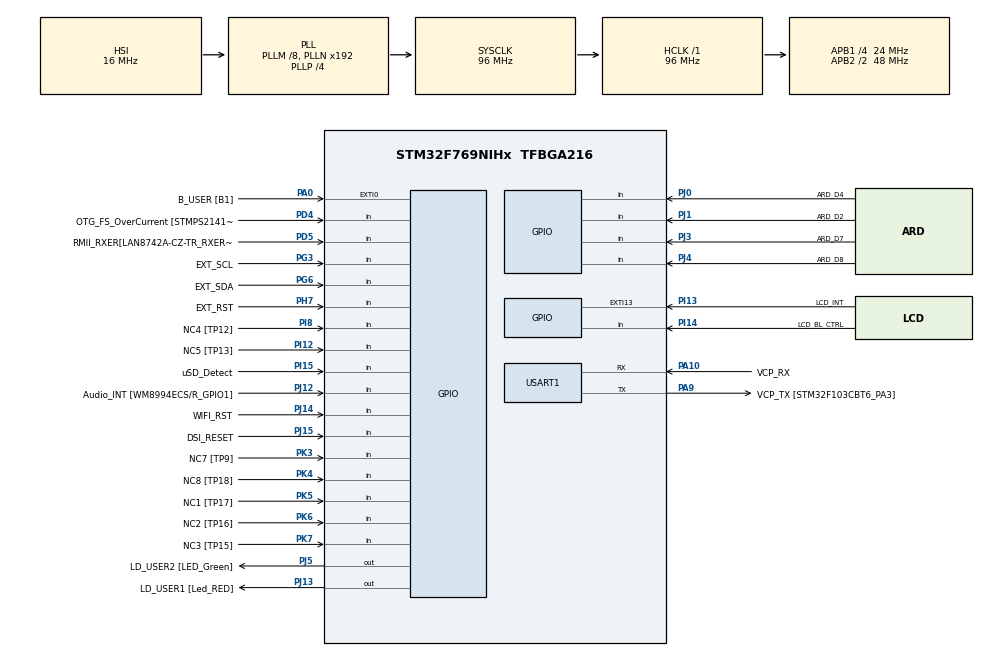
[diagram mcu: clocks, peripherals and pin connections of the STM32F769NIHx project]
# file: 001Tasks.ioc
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DSIHOST_CKN.GPIO_Label=DSI_CK_N
DSIHOST_CKN.Signal=DSIHOST_CKN
DSIHOST_CKP.GPIO_Label=DSI_CK_P
DSIHOST_CKP.Signal=DSIHOST_CKP
DSIHOST_D0N.GPIO_Label=DSI_D0_N
DSIHOST_D0N.Signal=DSIHOST_D0N
DSIHOST_D0P.GPIO_Label=DSI_D0_p
DSIHOST_D0P.Signal=DSIHOST_D0P
DSIHOST_D1N.GPIO_Label=DSI_D1_N
DSIHOST_D1N.Signal=DSIHOST_D1N
DSIHOST_D1P.GPIO_Label=DSI_D1_P
DSIHOST_D1P.Signal=DSIHOST_D1P
Mcu.Family=STM32F7
Mcu.Name=STM32F769NIHx
Mcu.Package=TFBGA216
NVIC.PriorityGroup=NVIC_PRIORITYGROUP_4
NVIC.TIM6_DAC_IRQn=true\:15\:0\:false\:false\:true\:false\:true\:true
NVIC.TimeBase=TIM6_DAC_IRQn
NVIC.TimeBaseIP=TIM6
PA0/WKUP.GPIO_Label=B_USER [B1]
PA0/WKUP.Signal=GPXTI0
PA1.GPIO_Label=RMII_REF_CLK [LAN8742A-CZ-TR_REFCLK0]
PA1.Signal=ETH_REF_CLK
PA10.GPIO_Label=VCP_RX 
PA10.Mode=Asynchronous
PA10.Signal=USART1_RX
PA11.GPIO_Label=SPI2_NSS
PA11.Signal=SPI2_NSS
PA12.GPIO_Label=ARD_D13/SCK
PA12.GPIO_Mode=GPIO_MODE_AF_PP
PA12.GPIO_PuPd=GPIO_NOPULL
PA12.GPIO_Speed=GPIO_SPEED_FREQ_LOW
PA12.Signal=SPI2_SCK
PA13.GPIO_Label=SWDIO
PA13.Signal=SYS_JTMS-SWDIO
PA14.GPIO_Label=SWCLK
PA14.Signal=SYS_JTCK-SWCLK
PA15.GPIO_Label=CEC
PA15.Signal=CEC
PA2.GPIO_Label=RMII_MDIO [LAN8742A-CZ-TR_MDIO]
PA2.Signal=ETH_MDIO
PA3.GPIO_Label=ULPI_D0 [USB3320C-EZK_D0]
PA3.Signal=USB_OTG_HS_ULPI_D0
PA4.GPIO_Label=ARD_A1
PA4.Signal=ADCx_IN4
PA5.GPIO_Label=ULPI_CLK [USB3320C-EZK_CLKOUT]
PA5.Signal=USB_OTG_HS_ULPI_CK
PA6.GPIO_Label=ARD_A0
PA6.Signal=ADCx_IN6
PA7.GPIO_Label=RMII_CRS_DV [LAN8742A-CZ-TR_CRS_DV]
PA7.Signal=ETH_CRS_DV
PA8.GPIO_Label=CEC_CLK [TP2]
PA8.Signal=RCC_MCO_1
PA9.GPIO_Label=VCP_TX [STM32F103CBT6_PA3]
PA9.GPIO_Mode=GPIO_MODE_AF_PP
PA9.GPIO_PuPd=GPIO_NOPULL
PA9.GPIO_Speed=GPIO_SPEED_FREQ_LOW
PA9.Mode=Asynchronous
PA9.Signal=USART1_TX
PB0.GPIO_Label=ULPI_D1 [USB3320C-EZK_D1]
PB0.Signal=USB_OTG_HS_ULPI_D1
PB1.GPIO_Label=ULPI_D2 [USB3320C-EZK_D2]
PB1.Signal=USB_OTG_HS_ULPI_D2
PB10.GPIO_Label=ULPI_D3 [USB3320C-EZK_D3]
PB10.Signal=USB_OTG_HS_ULPI_D3
PB11.GPIO_Label=ULPI_D4 [USB3320C-EZK_D4]
PB11.Signal=USB_OTG_HS_ULPI_D4
PB12.GPIO_Label=ULPI_D5 [USB3320C-EZK_D5]
PB12.Signal=USB_OTG_HS_ULPI_D5
PB13.GPIO_Label=ULPI_D6 [USB3320C-EZK_D6]
PB13.Signal=USB_OTG_HS_ULPI_D6
PB14.GPIO_Label=ARDUINO MISO/D12
PB14.GPIO_Mode=GPIO_MODE_AF_PP
PB14.GPIO_PuPd=GPIO_NOPULL
PB14.GPIO_Speed=GPIO_SPEED_FREQ_LOW
PB14.Signal=SPI2_MISO
PB15.GPIO_Label=ARDUINO MOSI/PWM/D11
PB15.GPIO_Mode=GPIO_MODE_AF_PP
PB15.GPIO_PuPd=GPIO_NOPULL
PB15.GPIO_Speed=GPIO_SPEED_FREQ_LOW
PB15.Signal=SPI2_MOSI
PB2.Signal=QUADSPI_CLK
PB3.GPIO_Label=uSD_D2
PB3.Signal=SDMMC2_D2
PB4.GPIO_Label=uSD_D3
PB4.Signal=SDMMC2_D3
PB5.GPIO_Label=ULPI_D7 [USB3320C-EZK_D7]
PB5.Signal=USB_OTG_HS_ULPI_D7
PB6.GPIO_Label=QSPI_NCS [N25Q128A13EF840E_S]
PB6.Signal=QUADSPI_BK1_NCS
PB7.GPIO_Label=AUDIO_SDA [WM8994ECS/R_SDA]
PB7.Signal=I2C4_SDA
PB8.GPIO_Label=ARDUINO SCL/D15
PB8.GPIO_Mode=GPIO_MODE_AF_OD
PB8.GPIO_PuPd=GPIO_NOPULL
PB8.GPIO_Speed=GPIO_SPEED_FREQ_LOW
PB8.Signal=I2C1_SCL
PB9.GPIO_Label=ARDUINO SDA/D14
PB9.GPIO_Mode=GPIO_MODE_AF_OD
PB9.GPIO_PuPd=GPIO_NOPULL
PB9.GPIO_Speed=GPIO_SPEED_FREQ_LOW
PB9.Signal=I2C1_SDA
PC0.GPIO_Label=ULPI_STP [USB3320C-EZK_STP]
PC0.Signal=USB_OTG_HS_ULPI_STP
PC1.GPIO_Label=RMII_MDC [LAN8742A-CZ-TR_MDC]
PC1.Signal=ETH_MDC
PC10.GPIO_Label=QSPI_D1 [MT25QL512ABB1EW9_DQ1]
PC10.Signal=QUADSPI_BK1_IO1
PC11.GPIO_Label=DFSDM_DATIN5 [TP100]
PC11.Signal=S_DATAIN5DFSDM1
PC12.GPIO_Label=WIFI_RX
PC12.Signal=UART5_TX
PC13.Signal=RTC_OUT
PC14/OSC32_IN.GPIO_Label=RCC_OSC32_IN
PC14/OSC32_IN.Signal=RCC_OSC32_IN
PC15/OSC32_OUT.GPIO_Label=RCC_OSC32_OUT
PC15/OSC32_OUT.Signal=RCC_OSC32_OUT
PC2.GPIO_Label=ARD_A2
PC2.Signal=ADCx_IN12
PC3.GPIO_Label=DFSDM_DATIN1 [TP101]
PC3.Signal=S_DATAIN1DFSDM1
PC4.GPIO_Label=RMII_RXD0 [LAN8742A-CZ-TR_RXD0]
PC4.Signal=ETH_RXD0
PC5.GPIO_Label=RMII_RXD1 [LAN8742A-CZ-TR_RXD1]
PC5.Signal=ETH_RXD1
PC6.GPIO_Label=ARDUINO TX/D1
PC6.Signal=USART6_TX
PC7.GPIO_Label=ARD_D0/RX
PC7.Signal=USART6_RX
PC8.GPIO_Label=ARD_D5/PWM
PC8.Signal=S_TIM3_CH3
PC9.GPIO_Label=QSPI_D0 [N25Q128A13EF840E_DQ0]
PC9.Signal=QUADSPI_BK1_IO0
PD0.GPIO_Label=FMC_D2 [MT48LC4M32B2B5-6A_DQ2]
PD0.Signal=FMC_D2_DA2
PD1.GPIO_Label=FMC_D3 [MT48LC4M32B2B5-6A_DQ3]
PD1.Signal=FMC_D3_DA3
PD10.GPIO_Label=FMC_D15 [MT48LC4M32B2B5-6A_DQ15]
PD10.Signal=FMC_D15_DA15
PD11.GPIO_Label=SPDIF_TX [TP20]
PD11.Signal=SAI2_SD_A
PD12.GPIO_Label=AUDIO_SCL [WM8994ECS/R_SCLK]
PD12.Signal=I2C4_SCL
PD13.GPIO_Label=QSPI_D3 [N25Q128A13EF840E_DQ3]
PD13.Signal=QUADSPI_BK1_IO3
PD14.GPIO_Label=FMC_D0 [MT48LC4M32B2B5-6A_DQ0]
PD14.Signal=FMC_D0_DA0
PD15.GPIO_Label=FMC_D1 [MT48LC4M32B2B5-6A_DQ1]
PD15.Signal=FMC_D1_DA1
PD2.GPIO_Label=WIFI_TX
PD2.Signal=UART5_RX
PD3.GPIO_Label=DFSDM_CKOUT [TP102]
PD3.Signal=S_CKOUTDFSDM1
PD4.GPIO_Label=OTG_FS_OverCurrent [STMPS2141STR_Fault]
PD4.Signal=GPIO_Input
PD5.GPIO_Label=RMII_RXER[LAN8742A-CZ-TR_RXERR]
PD5.Signal=GPIO_Input
PD6.GPIO_Label=uSD_CLK
PD6.Signal=SDMMC2_CK
PD7.GPIO_Label=uSD_CMD
PD7.Signal=SDMMC2_CMD
PD8.GPIO_Label=FMC_D13 [MT48LC4M32B2B5-6A_DQ13]
PD8.Signal=FMC_D13_DA13
PD9.GPIO_Label=FMC_D14 [MT48LC4M32B2B5-6A_DQ14]
PD9.Signal=FMC_D14_DA14
PE0.GPIO_Label=FMC_NBL0 [MT48LC4M32B2B5-6A_DQM0]
PE0.Signal=FMC_NBL0
PE1.GPIO_Label=FMC_NBL1 [MT48LC4M32B2B5-6A_DQM1]
PE1.Signal=FMC_NBL1
PE10.GPIO_Label=FMC_D7 [MT48LC4M32B2B5-6A_DQ7]
PE10.Signal=FMC_D7_DA7
PE11.GPIO_Label=FMC_D8 [MT48LC4M32B2B5-6A_DQ8]
PE11.Signal=FMC_D8_DA8
PE12.GPIO_Label=FMC_D9 [MT48LC4M32B2B5-6A_DQ9]
PE12.Signal=FMC_D9_DA9
PE13.GPIO_Label=FMC_D10 [MT48LC4M32B2B5-6A_DQ10]
PE13.Signal=FMC_D10_DA10
PE14.GPIO_Label=FMC_D11 [MT48LC4M32B2B5-6A_DQ11]
PE14.Signal=FMC_D11_DA11
PE15.GPIO_Label=FMC_D12 [MT48LC4M32B2B5-6A_DQ12]
PE15.Signal=FMC_D12_DA12
PE2.GPIO_Label=QSPI_D2 [N25Q128A13EF840E_DQ2]
PE2.Signal=QUADSPI_BK1_IO2
PE3.GPIO_Label=SAI1_SDB [WM8994ECS/R_ADCDAT1]
PE3.Signal=SAI1_SD_B
PE4.GPIO_Label=SAI1_FSA [WM8994ECS/R_LRCLK1]
PE4.Signal=SAI1_FS_A
PE5.GPIO_Label=SAI1_SCKA [WM8994ECS/R_BCLK1]
PE5.Signal=SAI1_SCK_A
PE6.GPIO_Label=SAI1_SDA [WM8994ECS/R_DACDAT1]
PE6.Signal=SAI1_SD_A
PE7.GPIO_Label=FMC_D4 [MT48LC4M32B2B5-6A_DQ4]
PE7.Signal=FMC_D4_DA4
PE8.GPIO_Label=FMC_D5 [MT48LC4M32B2B5-6A_DQ5]
PE8.Signal=FMC_D5_DA5
PE9.GPIO_Label=FMC_D6 [MT48LC4M32B2B5-6A_DQ6]
PE9.Signal=FMC_D6_DA6
PF0.GPIO_Label=FMC_A0 [MT48LC4M32B2B5-6A_A0]
PF0.Signal=FMC_A0
PF1.GPIO_Label=FMC_A1 [MT48LC4M32B2B5-6A_A1]
PF1.Signal=FMC_A1
PF10.GPIO_Label=ARDUINO A1
PF10.GPIO_Mode=GPIO_MODE_ANALOG
PF10.GPIO_PuPd=GPIO_NOPULL
PF10.Signal=ADC3_IN8
PF11.GPIO_Label=FMC_SDNRAS [MT48LC4M32B2B5-6A_RAS]
PF11.Signal=FMC_SDNRAS
PF12.GPIO_Label=FMC_A6 [MT48LC4M32B2B5-6A_A6]
PF12.Signal=FMC_A6
PF13.GPIO_Label=FMC_A7 [MT48LC4M32B2B5-6A_A7]
PF13.Signal=FMC_A7
PF14.GPIO_Label=FMC_A8 [MT48LC4M32B2B5-6A_A8]
PF14.Signal=FMC_A8
PF15.GPIO_Label=FMC_A9 [MT48LC4M32B2B5-6A_A9]
PF15.Signal=FMC_A9
PF2.GPIO_Label=FMC_A2 [MT48LC4M32B2B5-6A_A2]
PF2.Signal=FMC_A2
PF3.GPIO_Label=FMC_A3 [MT48LC4M32B2B5-6A_A3]
PF3.Signal=FMC_A3
PF4.GPIO_Label=FMC_A4 [MT48LC4M32B2B5-6A_A4]
PF4.Signal=FMC_A4
PF5.GPIO_Label=FMC_A5 [MT48LC4M32B2B5-6A_A5]
PF5.Signal=FMC_A5
PF6.GPIO_Label=ARD_D3/PWM
PF6.Signal=S_TIM10_CH1
PF7.GPIO_Label=ARD_D6/PWM
PF7.Signal=S_TIM11_CH1
PF8.GPIO_Label=ARDUINO A3
PF8.GPIO_Mode=GPIO_MODE_ANALOG
PF8.GPIO_PuPd=GPIO_NOPULL
PF8.Signal=ADC3_IN6
PF9.GPIO_Label=ARDUINO A2
PF9.GPIO_Mode=GPIO_MODE_ANALOG
PF9.GPIO_PuPd=GPIO_NOPULL
PF9.Signal=ADC3_IN7
PG0.GPIO_Label=FMC_A10 [MT48LC4M32B2B5-6A_A10]
PG0.Signal=FMC_A10
PG1.GPIO_Label=FMC_A11 [MT48LC4M32B2B5-6A_A11]
PG1.Signal=FMC_A11
PG10.GPIO_Label=uSD_D1
PG10.Signal=SDMMC2_D1
PG11.GPIO_Label=RMII_TX_EN [LAN8742A-CZ-TR_TXEN]
PG11.Signal=ETH_TX_EN
PG12.GPIO_Label=SPDIF_RX [74LVC1G04SE_4]
PG12.Signal=SPDIFRX_IN1
PG13.GPIO_Label=RMII_TXD0 [LAN8742A-CZ-TR_TXD0]
PG13.Signal=ETH_TXD0
PG14.GPIO_Label=RMII_TXD1 [LAN8742A-CZ-TR_TXD1]
PG14.Signal=ETH_TXD1
PG15.GPIO_Label=FMC_SDNCAS [MT48LC4M32B2B5-6A_CAS]
PG15.Signal=FMC_SDNCAS
PG2.GPIO_Label=FMC_A12
PG2.Signal=FMC_A12
PG3.GPIO_Label=EXT_SCL
PG3.Signal=GPIO_Input
PG4.GPIO_Label=FMC_BA0 [MT48LC4M32B2B5-6A_BA0]
PG4.Signal=FMC_A14_BA0
PG5.GPIO_Label=FMC_BA1 [MT48LC4M32B2B5-6A_BA1]
PG5.Signal=FMC_A15_BA1
PG6.GPIO_Label=EXT_SDA
PG6.Signal=GPIO_Input
PG7.GPIO_Label=SAI1_MCLKA [WM8994ECS/R_MCLK1]
PG7.Signal=SAI1_MCLK_A
PG8.GPIO_Label=FMC_SDCLK [MT48LC4M32B2B5-6A_CLK]
PG8.Signal=FMC_SDCLK
PG9.GPIO_Label=uSD_D0
PG9.Signal=SDMMC2_D0
PH0/OSC_IN.GPIO_Label=OSC_25M [NZ2520SB-25.00M_OUT]
PH0/OSC_IN.Signal=RCC_OSC_IN
PH1/OSC_OUT.Signal=RCC_OSC_OUT
PH10.GPIO_Label=FMC_D18 [MT48LC4M32B2B5-6A_DQ18]
PH10.Signal=FMC_D18
PH11.GPIO_Label=FMC_D19 [MT48LC4M32B2B5-6A_DQ19]
PH11.Signal=FMC_D19
PH12.GPIO_Label=D20
PH12.Signal=FMC_D20
PH13.GPIO_Label=D21
PH13.Signal=FMC_D21
PH14.GPIO_Label=D22
PH14.Signal=FMC_D22
PH15.GPIO_Label=D23
PH15.Signal=FMC_D23
PH2.GPIO_Label=FMC_SDCKE0 [MT48LC4M32B2B5-6A_CKE]
PH2.Signal=FMC_SDCKE0
PH3.GPIO_Label=FMC_SDNE0 [MT48LC4M32B2B5-6A_CS]
PH3.Signal=FMC_SDNE0
PH4.GPIO_Label=ULPI_NXT [USB3320C-EZK_NXT]
PH4.Signal=USB_OTG_HS_ULPI_NXT
PH5.GPIO_Label=FMC_SDNME [MT48LC4M32B2B5-6A_WE]
PH5.Signal=FMC_SDNWE
PH6.GPIO_Label=ARDUINO PWM/D6
PH6.Signal=S_TIM12_CH1
PH7.GPIO_Label=EXT_RST
PH7.Signal=GPIO_Input
PH8.GPIO_Label=FMC_D16 [MT48LC4M32B2B5-6A_DQ16]
PH8.Signal=FMC_D16
PH9.GPIO_Label=FMC_D\!7 [MT48LC4M32B2B5-6A_DQ17]
PH9.Signal=FMC_D17
PI0.GPIO_Label=D24
PI0.Signal=FMC_D24
PI1.GPIO_Label=D25
PI1.Signal=FMC_D25
PI10.GPIO_Label=D31
PI10.Signal=FMC_D31
PI11.GPIO_Label=ULPI_DIR [USB3320C-EZK_DIR]
PI11.Signal=USB_OTG_HS_ULPI_DIR
PI12.GPIO_Label=NC5 [TP13]
PI12.Signal=GPIO_Input
PI13.GPIO_Label=LCD_INT
PI13.GPIO_ModeDefaultEXTI=GPIO_MODE_EVT_RISING
PI13.Signal=GPXTI13
PI14.GPIO_Label=LCD_BL_CTRL
PI14.Signal=GPIO_Input
PI15.GPIO_Label=uSD_Detect
PI15.Signal=GPIO_Input
PI2.GPIO_Label=D26
PI2.Signal=FMC_D26
PI3.GPIO_Label=D27
PI3.Signal=FMC_D27
PI4.GPIO_Label=FMC_NBL2 [MT48LC4M32B2B5-6A_DQM2]
PI4.Signal=FMC_NBL2
PI5.GPIO_Label=FMC_NBL3 [MT48LC4M32B2B5-6A_DQM3]
PI5.Signal=FMC_NBL3
PI6.GPIO_Label=D28
PI6.Signal=FMC_D28
PI7.GPIO_Label=D29
PI7.Signal=FMC_D29
PI8.GPIO_Label=NC4 [TP12]
PI8.Signal=GPIO_Input
PI9.GPIO_Label=D30
PI9.Signal=FMC_D30
PJ0.GPIO_Label=ARD_D4
PJ0.Signal=GPIO_Input
PJ1.GPIO_Label=ARD_D2
PJ1.Signal=GPIO_Input
PJ12.GPIO_Label=Audio_INT [WM8994ECS/R_GPIO1]
PJ12.Signal=GPIO_Input
PJ13.GPIO_Label=LD_USER1 [Led_RED]
PJ13.Signal=GPIO_Output
PJ14.GPIO_Label=WIFI_RST
PJ14.Signal=GPIO_Input
PJ15.GPIO_Label=DSI_RESET
PJ15.Signal=GPIO_Input
PJ2.GPIO_Label=DSIHOST_TE
PJ2.Signal=DSIHOST_TE
PJ3.GPIO_Label=ARD_D7
PJ3.Signal=GPIO_Input
PJ4.GPIO_Label=ARD_D8
PJ4.Signal=GPIO_Input
PJ5.GPIO_Label=LD_USER2 [LED_Green]
PJ5.Signal=GPIO_Output
PK3.GPIO_Label=NC7 [TP9]
PK3.Signal=GPIO_Input
PK4.GPIO_Label=NC8 [TP18]
PK4.Signal=GPIO_Input
PK5.GPIO_Label=NC1 [TP17]
PK5.Signal=GPIO_Input
PK6.GPIO_Label=NC2 [TP16]
PK6.Signal=GPIO_Input
PK7.GPIO_Label=NC3 [TP15]
PK7.Signal=GPIO_Input
ProjectManager.HeapSize=0x200
ProjectManager.StackSize=0x400
ProjectManager.TargetToolchain=STM32CubeIDE
RCC.AHBFreq_Value=96000000
RCC.APB1CLKDivider=RCC_HCLK_DIV4
RCC.APB1Freq_Value=24000000
RCC.APB1TimFreq_Value=48000000
RCC.APB2CLKDivider=RCC_HCLK_DIV2
RCC.APB2Freq_Value=48000000
RCC.APB2TimFreq_Value=96000000
RCC.CortexFreq_Value=96000000
RCC.HCLKFreq_Value=96000000
RCC.HSE_VALUE=25000000
RCC.HSI_VALUE=16000000
RCC.LSE_VALUE=32768
RCC.PLLM=8
RCC.PLLP=RCC_PLLP_DIV4
RCC.PLLQ=4
RCC.PLLSAIQ=3
RCC.SYSCLKFreq_VALUE=96000000
RCC.SYSCLKSource=RCC_SYSCLKSOURCE_PLLCLK
RCC.USBFreq_Value=96000000
RCC.VCOOutputFreq_Value=384000000
SH.ADCx_IN12.0=ADC1_IN12
SH.ADCx_IN4.0=ADC1_IN4
SH.ADCx_IN6.0=ADC1_IN6
SH.FMC_A0.0=FMC_A0
SH.FMC_A1.0=FMC_A1
SH.FMC_A10.0=FMC_A10
SH.FMC_A11.0=FMC_A11
SH.FMC_A12.0=FMC_A12
SH.FMC_A14_BA0.0=FMC_BA0
SH.FMC_A15_BA1.0=FMC_BA1
SH.FMC_A2.0=FMC_A2
SH.FMC_A3.0=FMC_A3
SH.FMC_A4.0=FMC_A4
SH.FMC_A5.0=FMC_A5
SH.FMC_A6.0=FMC_A6
SH.FMC_A7.0=FMC_A7
SH.FMC_A8.0=FMC_A8
SH.FMC_A9.0=FMC_A9
SH.FMC_D0_DA0.0=FMC_D0
SH.FMC_D10_DA10.0=FMC_D10
SH.FMC_D11_DA11.0=FMC_D11
SH.FMC_D12_DA12.0=FMC_D12
SH.FMC_D13_DA13.0=FMC_D13
SH.FMC_D14_DA14.0=FMC_D14
SH.FMC_D15_DA15.0=FMC_D15
SH.FMC_D16.0=FMC_D16
SH.FMC_D17.0=FMC_D17
SH.FMC_D18.0=FMC_D18
SH.FMC_D19.0=FMC_D19
SH.FMC_D1_DA1.0=FMC_D1
SH.FMC_D20.0=FMC_D20
SH.FMC_D21.0=FMC_D21
SH.FMC_D22.0=FMC_D22
SH.FMC_D23.0=FMC_D23
SH.FMC_D24.0=FMC_D24
SH.FMC_D25.0=FMC_D25
SH.FMC_D26.0=FMC_D26
SH.FMC_D27.0=FMC_D27
SH.FMC_D28.0=FMC_D28
SH.FMC_D29.0=FMC_D29
SH.FMC_D2_DA2.0=FMC_D2
SH.FMC_D30.0=FMC_D30
SH.FMC_D31.0=FMC_D31
SH.FMC_D3_DA3.0=FMC_D3
SH.FMC_D4_DA4.0=FMC_D4
SH.FMC_D5_DA5.0=FMC_D5
SH.FMC_D6_DA6.0=FMC_D6
SH.FMC_D7_DA7.0=FMC_D7
SH.FMC_D8_DA8.0=FMC_D8
SH.FMC_D9_DA9.0=FMC_D9
SH.FMC_NBL0.0=FMC_NBL0
SH.FMC_NBL1.0=FMC_NBL1
SH.FMC_NBL2.0=FMC_NBL2
SH.FMC_NBL3.0=FMC_NBL3
SH.FMC_SDCLK.0=FMC_SDCLK
SH.FMC_SDNCAS.0=FMC_SDNCAS
SH.FMC_SDNRAS.0=FMC_SDNRAS
SH.FMC_SDNWE.0=FMC_SDNWE
SH.S_CKOUTDFSDM1.0=DFSDM1_CKOUT
SH.S_DATAIN1DFSDM1.0=DFSDM1_DATIN1
SH.S_DATAIN5DFSDM1.0=DFSDM1_DATIN5
SH.S_TIM10_CH1.0=TIM10_CH1
SH.S_TIM11_CH1.0=TIM11_CH1
SH.S_TIM12_CH1.0=TIM12_CH1
SH.S_TIM3_CH3.0=TIM3_CH3
USART1.VirtualMode-Asynchronous=VM_ASYNC
VP_SYS_VS_tim6.Mode=TIM6
board=STM32F769I-DISCO

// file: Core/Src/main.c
/* USER CODE BEGIN Header */
/**
  ******************************************************************************
  * @file           : main.c
  * @brief          : Main program body
  ******************************************************************************
  * @attention
  *
  * Copyright (c) 2024 STMicroelectronics.
  * All rights reserved.
  *
  * This software is licensed under terms that can be found in the LICENSE file
  * in the root directory of this software component.
  * If no LICENSE file comes with this software, it is provided AS-IS.
  *
  ******************************************************************************
  */
/* USER CODE END Header */
#include "main.h"

/* USER CODE BEGIN Includes */
#include <stdio.h>
#include "FreeRTOS.h"
#include "task.h"
//#include "uart.h"
/* USER CODE END Includes */

UART_HandleTypeDef huart1;

void SystemClock_Config(void);
static void MX_GPIO_Init(void);
static void MX_USART1_UART_Init(void);
/* USER CODE BEGIN PFP */

void vAssertCalled( uint32_t ulLine, const char *pcFile )
{
    // Print the file name and line number where the assert occurred
    printf("ASSERTION FAILED: File %s, line %lu\n", pcFile, ulLine);

    // You might add additional error handling or debugging code here
    taskDISABLE_INTERRUPTS();

    // Loop indefinitely or perform any necessary cleanup
    while(1)
    {
        // Loop indefinitely
    }
}

static void task1_handler(void* parameters);
static void task2_handler(void* parameters);

//int __io_putchar(int ch) {
//	HAL_UART_Transmit(&huart1, (const uint8_t *)ch, 1, 1000);
//	return ch;
//}

/* USER CODE END PFP */

int main(void)
{
  /* USER CODE BEGIN 1 */
  TaskHandle_t task1_handle;
  TaskHandle_t task2_handle;
  BaseType_t status;
  char _a[1] = {'A'};
  char *pt_a = _a;
  printf("Hello\n");
  /* USER CODE END 1 */

  /* MCU Configuration--------------------------------------------------------*/

  /* Reset of all peripherals, Initializes the Flash interface and the Systick. */
  HAL_Init();

  /* USER CODE BEGIN Init */

  //uart1_txt_init();
  /* USER CODE END Init */

  /* Configure the system clock */
  SystemClock_Config();

  /* Initialize all configured peripherals */
  MX_GPIO_Init();
  MX_USART1_UART_Init();
  /* USER CODE BEGIN 2 */
  status = xTaskCreate(task1_handler, "Task-1", 200, "Hello world from Task-1", 2, &task1_handle);
  configASSERT(status == pdPASS);

  status = xTaskCreate(task2_handler, "Task-2", 200, "Hello world from Task-2", 2, &task2_handle);
  configASSERT(status == pdPASS);

  // start the freeRTOS scheduler
  //vTaskStartScheduler();

  // if the control comes here, then the launch of the scheduler has failed due to insufficient memory

  /* USER CODE END 2 */

  /* Infinite loop */
  /* USER CODE BEGIN WHILE */
  while (1)
  {

	  //printf("Hello from main function\n\r");
	  ITM_SendChar(*pt_a);
    /* USER CODE END WHILE */

  }
}

void SystemClock_Config(void)
{
  RCC_OscInitTypeDef RCC_OscInitStruct = {0};
  RCC_ClkInitTypeDef RCC_ClkInitStruct = {0};

  /** Configure the main internal regulator output voltage
  */
  __HAL_RCC_PWR_CLK_ENABLE();
  __HAL_PWR_VOLTAGESCALING_CONFIG(PWR_REGULATOR_VOLTAGE_SCALE3);

  /** Initializes the RCC Oscillators according to the specified parameters
  * in the RCC_OscInitTypeDef structure.
  */
  RCC_OscInitStruct.OscillatorType = RCC_OSCILLATORTYPE_HSI;
  RCC_OscInitStruct.HSIState = RCC_HSI_ON;
  RCC_OscInitStruct.HSICalibrationValue = RCC_HSICALIBRATION_DEFAULT;
  RCC_OscInitStruct.PLL.PLLState = RCC_PLL_ON;
  RCC_OscInitStruct.PLL.PLLSource = RCC_PLLSOURCE_HSI;
  RCC_OscInitStruct.PLL.PLLM = 8;
  RCC_OscInitStruct.PLL.PLLN = 192;
  RCC_OscInitStruct.PLL.PLLP = RCC_PLLP_DIV4;
  RCC_OscInitStruct.PLL.PLLQ = 4;
  RCC_OscInitStruct.PLL.PLLR = 2;
  if (HAL_RCC_OscConfig(&RCC_OscInitStruct) != HAL_OK)
  {
    Error_Handler();
  }

  /** Initializes the CPU, AHB and APB buses clocks
  */
  RCC_ClkInitStruct.ClockType = RCC_CLOCKTYPE_HCLK|RCC_CLOCKTYPE_SYSCLK
                              |RCC_CLOCKTYPE_PCLK1|RCC_CLOCKTYPE_PCLK2;
  RCC_ClkInitStruct.SYSCLKSource = RCC_SYSCLKSOURCE_PLLCLK;
  RCC_ClkInitStruct.AHBCLKDivider = RCC_SYSCLK_DIV1;
  RCC_ClkInitStruct.APB1CLKDivider = RCC_HCLK_DIV4;
  RCC_ClkInitStruct.APB2CLKDivider = RCC_HCLK_DIV2;

  if (HAL_RCC_ClockConfig(&RCC_ClkInitStruct, FLASH_LATENCY_3) != HAL_OK)
  {
    Error_Handler();
  }
}

static void MX_USART1_UART_Init(void)
{

  huart1.Instance = USART1;
  huart1.Init.BaudRate = 115200;
  huart1.Init.WordLength = UART_WORDLENGTH_8B;
  huart1.Init.StopBits = UART_STOPBITS_1;
  huart1.Init.Parity = UART_PARITY_NONE;
  huart1.Init.Mode = UART_MODE_TX_RX;
  huart1.Init.HwFlowCtl = UART_HWCONTROL_NONE;
  huart1.Init.OverSampling = UART_OVERSAMPLING_16;
  huart1.Init.OneBitSampling = UART_ONE_BIT_SAMPLE_DISABLE;
  huart1.AdvancedInit.AdvFeatureInit = UART_ADVFEATURE_NO_INIT;
  if (HAL_UART_Init(&huart1) != HAL_OK)
  {
    Error_Handler();
  }

}

static void MX_GPIO_Init(void)
{
  GPIO_InitTypeDef GPIO_InitStruct = {0};

  /* GPIO Ports Clock Enable */
  __HAL_RCC_GPIOE_CLK_ENABLE();
  __HAL_RCC_GPIOG_CLK_ENABLE();
  __HAL_RCC_GPIOB_CLK_ENABLE();
  __HAL_RCC_GPIOD_CLK_ENABLE();
  __HAL_RCC_GPIOC_CLK_ENABLE();
  __HAL_RCC_GPIOA_CLK_ENABLE();
  __HAL_RCC_GPIOJ_CLK_ENABLE();
  __HAL_RCC_GPIOI_CLK_ENABLE();
  __HAL_RCC_GPIOK_CLK_ENABLE();
  __HAL_RCC_GPIOF_CLK_ENABLE();
  __HAL_RCC_GPIOH_CLK_ENABLE();

  /*Configure GPIO pin Output Level */
  HAL_GPIO_WritePin(GPIOJ, LD_USER1_Pin|LD_USER2_Pin, GPIO_PIN_RESET);

  /*Configure GPIO pins : SAI1_FSA_Pin SAI1_SDB_Pin SAI1_SCKA_Pin SAI1_SDA_Pin */
  GPIO_InitStruct.Pin = SAI1_FSA_Pin|SAI1_SDB_Pin|SAI1_SCKA_Pin|SAI1_SDA_Pin;
  GPIO_InitStruct.Mode = GPIO_MODE_AF_PP;
  GPIO_InitStruct.Pull = GPIO_NOPULL;
  GPIO_InitStruct.Speed = GPIO_SPEED_FREQ_LOW;
  GPIO_InitStruct.Alternate = GPIO_AF6_SAI1;
  HAL_GPIO_Init(GPIOE, &GPIO_InitStruct);

  /*Configure GPIO pin : QSPI_D2_Pin */
  GPIO_InitStruct.Pin = QSPI_D2_Pin;
  GPIO_InitStruct.Mode = GPIO_MODE_AF_PP;
  GPIO_InitStruct.Pull = GPIO_NOPULL;
  GPIO_InitStruct.Speed = GPIO_SPEED_FREQ_VERY_HIGH;
  GPIO_InitStruct.Alternate = GPIO_AF9_QUADSPI;
  HAL_GPIO_Init(QSPI_D2_GPIO_Port, &GPIO_InitStruct);

  /*Configure GPIO pins : RMII_TXD1_Pin RMII_TXD0_Pin RMII_TX_EN_Pin */
  GPIO_InitStruct.Pin = RMII_TXD1_Pin|RMII_TXD0_Pin|RMII_TX_EN_Pin;
  GPIO_InitStruct.Mode = GPIO_MODE_AF_PP;
  GPIO_InitStruct.Pull = GPIO_NOPULL;
  GPIO_InitStruct.Speed = GPIO_SPEED_FREQ_VERY_HIGH;
  GPIO_InitStruct.Alternate = GPIO_AF11_ETH;
  HAL_GPIO_Init(GPIOG, &GPIO_InitStruct);

  /*Configure GPIO pins : FMC_NBL1_Pin FMC_NBL0_Pin FMC_D5_Pin FMC_D6_Pin
                           FMC_D8_Pin FMC_D11_Pin FMC_D4_Pin FMC_D7_Pin
                           FMC_D9_Pin FMC_D12_Pin FMC_D10_Pin */
  GPIO_InitStruct.Pin = FMC_NBL1_Pin|FMC_NBL0_Pin|FMC_D5_Pin|FMC_D6_Pin
                          |FMC_D8_Pin|FMC_D11_Pin|FMC_D4_Pin|FMC_D7_Pin
                          |FMC_D9_Pin|FMC_D12_Pin|FMC_D10_Pin;
  GPIO_InitStruct.Mode = GPIO_MODE_AF_PP;
  GPIO_InitStruct.Pull = GPIO_NOPULL;
  GPIO_InitStruct.Speed = GPIO_SPEED_FREQ_VERY_HIGH;
  GPIO_InitStruct.Alternate = GPIO_AF12_FMC;
  HAL_GPIO_Init(GPIOE, &GPIO_InitStruct);

  /*Configure GPIO pins : ARDUINO_SCL_D15_Pin ARDUINO_SDA_D14_Pin */
  GPIO_InitStruct.Pin = ARDUINO_SCL_D15_Pin|ARDUINO_SDA_D14_Pin;
  GPIO_InitStruct.Mode = GPIO_MODE_AF_OD;
  GPIO_InitStruct.Pull = GPIO_NOPULL;
  GPIO_InitStruct.Speed = GPIO_SPEED_FREQ_LOW;
  GPIO_InitStruct.Alternate = GPIO_AF4_I2C1;
  HAL_GPIO_Init(GPIOB, &GPIO_InitStruct);

  /*Configure GPIO pins : ULPI_D7_Pin ULPI_D6_Pin ULPI_D5_Pin ULPI_D3_Pin
                           ULPI_D2_Pin ULPI_D1_Pin ULPI_D4_Pin */
  GPIO_InitStruct.Pin = ULPI_D7_Pin|ULPI_D6_Pin|ULPI_D5_Pin|ULPI_D3_Pin
                          |ULPI_D2_Pin|ULPI_D1_Pin|ULPI_D4_Pin;
  GPIO_InitStruct.Mode = GPIO_MODE_AF_PP;
  GPIO_InitStruct.Pull = GPIO_NOPULL;
  GPIO_InitStruct.Speed = GPIO_SPEED_FREQ_VERY_HIGH;
  GPIO_InitStruct.Alternate = GPIO_AF10_OTG_HS;
  HAL_GPIO_Init(GPIOB, &GPIO_InitStruct);

  /*Configure GPIO pins : uSD_D3_Pin uSD_D2_Pin */
  GPIO_InitStruct.Pin = uSD_D3_Pin|uSD_D2_Pin;
  GPIO_InitStruct.Mode = GPIO_MODE_AF_PP;
  GPIO_InitStruct.Pull = GPIO_NOPULL;
  GPIO_InitStruct.Speed = GPIO_SPEED_FREQ_VERY_HIGH;
  GPIO_InitStruct.Alternate = GPIO_AF10_SDMMC2;
  HAL_GPIO_Init(GPIOB, &GPIO_InitStruct);

  /*Configure GPIO pins : uSD_CMD_Pin uSD_CLK_Pin */
  GPIO_InitStruct.Pin = uSD_CMD_Pin|uSD_CLK_Pin;
  GPIO_InitStruct.Mode = GPIO_MODE_AF_PP;
  GPIO_InitStruct.Pull = GPIO_NOPULL;
  GPIO_InitStruct.Speed = GPIO_SPEED_FREQ_VERY_HIGH;
  GPIO_InitStruct.Alternate = GPIO_AF11_SDMMC2;
  HAL_GPIO_Init(GPIOD, &GPIO_InitStruct);

  /*Configure GPIO pin : WIFI_RX_Pin */
  GPIO_InitStruct.Pin = WIFI_RX_Pin;
  GPIO_InitStruct.Mode = GPIO_MODE_AF_PP;
  GPIO_InitStruct.Pull = GPIO_NOPULL;
  GPIO_InitStruct.Speed = GPIO_SPEED_FREQ_VERY_HIGH;
  GPIO_InitStruct.Alternate = GPIO_AF8_UART5;
  HAL_GPIO_Init(WIFI_RX_GPIO_Port, &GPIO_InitStruct);

  /*Configure GPIO pin : CEC_Pin */
  GPIO_InitStruct.Pin = CEC_Pin;
  GPIO_InitStruct.Mode = GPIO_MODE_AF_OD;
  GPIO_InitStruct.Pull = GPIO_NOPULL;
  GPIO_InitStruct.Speed = GPIO_SPEED_FREQ_LOW;
  GPIO_InitStruct.Alternate = GPIO_AF4_CEC;
  HAL_GPIO_Init(CEC_GPIO_Port, &GPIO_InitStruct);

  /*Configure GPIO pin : AUDIO_SDA_Pin */
  GPIO_InitStruct.Pin = AUDIO_SDA_Pin;
  GPIO_InitStruct.Mode = GPIO_MODE_AF_OD;
  GPIO_InitStruct.Pull = GPIO_NOPULL;
  GPIO_InitStruct.Speed = GPIO_SPEED_FREQ_VERY_HIGH;
  GPIO_InitStruct.Alternate = GPIO_AF11_I2C4;
  HAL_GPIO_Init(AUDIO_SDA_GPIO_Port, &GPIO_InitStruct);

  /*Configure GPIO pin : QSPI_NCS_Pin */
  GPIO_InitStruct.Pin = QSPI_NCS_Pin;
  GPIO_InitStruct.Mode = GPIO_MODE_AF_PP;
  GPIO_InitStruct.Pull = GPIO_NOPULL;
  GPIO_InitStruct.Speed = GPIO_SPEED_FREQ_VERY_HIGH;
  GPIO_InitStruct.Alternate = GPIO_AF10_QUADSPI;
  HAL_GPIO_Init(QSPI_NCS_GPIO_Port, &GPIO_InitStruct);

  /*Configure GPIO pins : FMC_SDNCAS_Pin FMC_SDCLK_Pin FMC_A11_Pin FMC_A12_Pin
                           FMC_A10_Pin FMC_BA1_Pin FMC_BA0_Pin */
  GPIO_InitStruct.Pin = FMC_SDNCAS_Pin|FMC_SDCLK_Pin|FMC_A11_Pin|FMC_A12_Pin
                          |FMC_A10_Pin|FMC_BA1_Pin|FMC_BA0_Pin;
  GPIO_InitStruct.Mode = GPIO_MODE_AF_PP;
  GPIO_InitStruct.Pull = GPIO_NOPULL;
  GPIO_InitStruct.Speed = GPIO_SPEED_FREQ_VERY_HIGH;
  GPIO_InitStruct.Alternate = GPIO_AF12_FMC;
  HAL_GPIO_Init(GPIOG, &GPIO_InitStruct);

  /*Configure GPIO pins : LD_USER1_Pin LD_USER2_Pin */
  GPIO_InitStruct.Pin = LD_USER1_Pin|LD_USER2_Pin;
  GPIO_InitStruct.Mode = GPIO_MODE_OUTPUT_PP;
  GPIO_InitStruct.Pull = GPIO_NOPULL;
  GPIO_InitStruct.Speed = GPIO_SPEED_FREQ_LOW;
  HAL_GPIO_Init(GPIOJ, &GPIO_InitStruct);

  /*Configure GPIO pins : Audio_INT_Pin WIFI_RST_Pin DSI_RESET_Pin ARD_D8_Pin
                           ARD_D7_Pin ARD_D4_Pin ARD_D2_Pin */
  GPIO_InitStruct.Pin = Audio_INT_Pin|WIFI_RST_Pin|DSI_RESET_Pin|ARD_D8_Pin
                          |ARD_D7_Pin|ARD_D4_Pin|ARD_D2_Pin;
  GPIO_InitStruct.Mode = GPIO_MODE_INPUT;
  GPIO_InitStruct.Pull = GPIO_NOPULL;
  HAL_GPIO_Init(GPIOJ, &GPIO_InitStruct);

  /*Configure GPIO pins : FMC_D2_Pin FMC_D3_Pin FMC_D1_Pin FMC_D15_Pin
                           FMC_D0_Pin FMC_D14_Pin FMC_D13_Pin */
  GPIO_InitStruct.Pin = FMC_D2_Pin|FMC_D3_Pin|FMC_D1_Pin|FMC_D15_Pin
                          |FMC_D0_Pin|FMC_D14_Pin|FMC_D13_Pin;
  GPIO_InitStruct.Mode = GPIO_MODE_AF_PP;
  GPIO_InitStruct.Pull = GPIO_NOPULL;
  GPIO_InitStruct.Speed = GPIO_SPEED_FREQ_VERY_HIGH;
  GPIO_InitStruct.Alternate = GPIO_AF12_FMC;
  HAL_GPIO_Init(GPIOD, &GPIO_InitStruct);

  /*Configure GPIO pins : DFSDM_DATIN5_Pin DFSDM_DATIN1_Pin */
  GPIO_InitStruct.Pin = DFSDM_DATIN5_Pin|DFSDM_DATIN1_Pin;
  GPIO_InitStruct.Mode = GPIO_MODE_AF_PP;
  GPIO_InitStruct.Pull = GPIO_NOPULL;
  GPIO_InitStruct.Speed = GPIO_SPEED_FREQ_LOW;
  GPIO_InitStruct.Alternate = GPIO_AF3_DFSDM1;
  HAL_GPIO_Init(GPIOC, &GPIO_InitStruct);

  /*Configure GPIO pins : QSPI_D1_Pin QSPI_D0_Pin */
  GPIO_InitStruct.Pin = QSPI_D1_Pin|QSPI_D0_Pin;
  GPIO_InitStruct.Mode = GPIO_MODE_AF_PP;
  GPIO_InitStruct.Pull = GPIO_NOPULL;
  GPIO_InitStruct.Speed = GPIO_SPEED_FREQ_VERY_HIGH;
  GPIO_InitStruct.Alternate = GPIO_AF9_QUADSPI;
  HAL_GPIO_Init(GPIOC, &GPIO_InitStruct);

  /*Configure GPIO pin : ARD_D13_SCK_Pin */
  GPIO_InitStruct.Pin = ARD_D13_SCK_Pin;
  GPIO_InitStruct.Mode = GPIO_MODE_AF_PP;
  GPIO_InitStruct.Pull = GPIO_NOPULL;
  GPIO_InitStruct.Speed = GPIO_SPEED_FREQ_LOW;
  GPIO_InitStruct.Alternate = GPIO_AF5_SPI2;
  HAL_GPIO_Init(ARD_D13_SCK_GPIO_Port, &GPIO_InitStruct);

  /*Configure GPIO pins : NC4_Pin NC5_Pin uSD_Detect_Pin LCD_BL_CTRL_Pin */
  GPIO_InitStruct.Pin = NC4_Pin|NC5_Pin|uSD_Detect_Pin|LCD_BL_CTRL_Pin;
  GPIO_InitStruct.Mode = GPIO_MODE_INPUT;
  GPIO_InitStruct.Pull = GPIO_NOPULL;
  HAL_GPIO_Init(GPIOI, &GPIO_InitStruct);

  /*Configure GPIO pins : FMC_NBL2_Pin D27_Pin D26_Pin FMC_NBL3_Pin
                           D29_Pin D31_Pin D28_Pin D25_Pin
                           D30_Pin D24_Pin */
  GPIO_InitStruct.Pin = FMC_NBL2_Pin|D27_Pin|D26_Pin|FMC_NBL3_Pin
                          |D29_Pin|D31_Pin|D28_Pin|D25_Pin
                          |D30_Pin|D24_Pin;
  GPIO_InitStruct.Mode = GPIO_MODE_AF_PP;
  GPIO_InitStruct.Pull = GPIO_NOPULL;
  GPIO_InitStruct.Speed = GPIO_SPEED_FREQ_VERY_HIGH;
  GPIO_InitStruct.Alternate = GPIO_AF12_FMC;
  HAL_GPIO_Init(GPIOI, &GPIO_InitStruct);

  /*Configure GPIO pins : NC3_Pin NC2_Pin NC1_Pin NC8_Pin
                           NC7_Pin */
  GPIO_InitStruct.Pin = NC3_Pin|NC2_Pin|NC1_Pin|NC8_Pin
                          |NC7_Pin;
  GPIO_InitStruct.Mode = GPIO_MODE_INPUT;
  GPIO_InitStruct.Pull = GPIO_NOPULL;
  HAL_GPIO_Init(GPIOK, &GPIO_InitStruct);

  /*Configure GPIO pin : SPDIF_RX_Pin */
  GPIO_InitStruct.Pin = SPDIF_RX_Pin;
  GPIO_InitStruct.Mode = GPIO_MODE_AF_PP;
  GPIO_InitStruct.Pull = GPIO_NOPULL;
  GPIO_InitStruct.Speed = GPIO_SPEED_FREQ_LOW;
  GPIO_InitStruct.Alternate = GPIO_AF7_SPDIFRX;
  HAL_GPIO_Init(SPDIF_RX_GPIO_Port, &GPIO_InitStruct);

  /*Configure GPIO pins : uSD_D1_Pin uSD_D0_Pin */
  GPIO_InitStruct.Pin = uSD_D1_Pin|uSD_D0_Pin;
  GPIO_InitStruct.Mode = GPIO_MODE_AF_PP;
  GPIO_InitStruct.Pull = GPIO_NOPULL;
  GPIO_InitStruct.Speed = GPIO_SPEED_FREQ_VERY_HIGH;
  GPIO_InitStruct.Alternate = GPIO_AF11_SDMMC2;
  HAL_GPIO_Init(GPIOG, &GPIO_InitStruct);

  /*Configure GPIO pins : RMII_RXER_Pin OTG_FS_OverCurrent_Pin */
  GPIO_InitStruct.Pin = RMII_RXER_Pin|OTG_FS_OverCurrent_Pin;
  GPIO_InitStruct.Mode = GPIO_MODE_INPUT;
  GPIO_InitStruct.Pull = GPIO_NOPULL;
  HAL_GPIO_Init(GPIOD, &GPIO_InitStruct);

  /*Configure GPIO pin : DFSDM_CKOUT_Pin */
  GPIO_InitStruct.Pin = DFSDM_CKOUT_Pin;
  GPIO_InitStruct.Mode = GPIO_MODE_AF_PP;
  GPIO_InitStruct.Pull = GPIO_NOPULL;
  GPIO_InitStruct.Speed = GPIO_SPEED_FREQ_LOW;
  GPIO_InitStruct.Alternate = GPIO_AF3_DFSDM1;
  HAL_GPIO_Init(DFSDM_CKOUT_GPIO_Port, &GPIO_InitStruct);

  /*Configure GPIO pin : SPI2_NSS_Pin */
  GPIO_InitStruct.Pin = SPI2_NSS_Pin;
  GPIO_InitStruct.Mode = GPIO_MODE_AF_PP;
  GPIO_InitStruct.Pull = GPIO_NOPULL;
  GPIO_InitStruct.Speed = GPIO_SPEED_FREQ_VERY_HIGH;
  GPIO_InitStruct.Alternate = GPIO_AF5_SPI2;
  HAL_GPIO_Init(SPI2_NSS_GPIO_Port, &GPIO_InitStruct);

  /*Configure GPIO pin : PC13 */
  GPIO_InitStruct.Pin = GPIO_PIN_13;
  GPIO_InitStruct.Mode = GPIO_MODE_AF_PP;
  GPIO_InitStruct.Pull = GPIO_NOPULL;
  GPIO_InitStruct.Speed = GPIO_SPEED_FREQ_LOW;
  HAL_GPIO_Init(GPIOC, &GPIO_InitStruct);

  /*Configure GPIO pins : FMC_A0_Pin FMC_A1_Pin FMC_A2_Pin FMC_A3_Pin
                           FMC_A4_Pin FMC_A5_Pin FMC_A6_Pin FMC_A9_Pin
                           FMC_A7_Pin FMC_A8_Pin FMC_SDNRAS_Pin */
  GPIO_InitStruct.Pin = FMC_A0_Pin|FMC_A1_Pin|FMC_A2_Pin|FMC_A3_Pin
                          |FMC_A4_Pin|FMC_A5_Pin|FMC_A6_Pin|FMC_A9_Pin
                          |FMC_A7_Pin|FMC_A8_Pin|FMC_SDNRAS_Pin;
  GPIO_InitStruct.Mode = GPIO_MODE_AF_PP;
  GPIO_InitStruct.Pull = GPIO_NOPULL;
  GPIO_InitStruct.Speed = GPIO_SPEED_FREQ_VERY_HIGH;
  GPIO_InitStruct.Alternate = GPIO_AF12_FMC;
  HAL_GPIO_Init(GPIOF, &GPIO_InitStruct);

  /*Configure GPIO pin : WIFI_TX_Pin */
  GPIO_InitStruct.Pin = WIFI_TX_Pin;
  GPIO_InitStruct.Mode = GPIO_MODE_AF_PP;
  GPIO_InitStruct.Pull = GPIO_NOPULL;
  GPIO_InitStruct.Speed = GPIO_SPEED_FREQ_VERY_HIGH;
  GPIO_InitStruct.Alternate = GPIO_AF8_UART5;
  HAL_GPIO_Init(WIFI_TX_GPIO_Port, &GPIO_InitStruct);

  /*Configure GPIO pins : D23_Pin D21_Pin D22_Pin FMC_SDNME_Pin
                           FMC_SDNE0_Pin FMC_SDCKE0_Pin D20_Pin FMC_D_7_Pin
                           FMC_D19_Pin FMC_D16_Pin FMC_D18_Pin */
  GPIO_InitStruct.Pin = D23_Pin|D21_Pin|D22_Pin|FMC_SDNME_Pin
                          |FMC_SDNE0_Pin|FMC_SDCKE0_Pin|D20_Pin|FMC_D_7_Pin
                          |FMC_D19_Pin|FMC_D16_Pin|FMC_D18_Pin;
  GPIO_InitStruct.Mode = GPIO_MODE_AF_PP;
  GPIO_InitStruct.Pull = GPIO_NOPULL;
  GPIO_InitStruct.Speed = GPIO_SPEED_FREQ_VERY_HIGH;
  GPIO_InitStruct.Alternate = GPIO_AF12_FMC;
  HAL_GPIO_Init(GPIOH, &GPIO_InitStruct);

  /*Configure GPIO pin : ULPI_DIR_Pin */
  GPIO_InitStruct.Pin = ULPI_DIR_Pin;
  GPIO_InitStruct.Mode = GPIO_MODE_AF_PP;
  GPIO_InitStruct.Pull = GPIO_NOPULL;
  GPIO_InitStruct.Speed = GPIO_SPEED_FREQ_VERY_HIGH;
  GPIO_InitStruct.Alternate = GPIO_AF10_OTG_HS;
  HAL_GPIO_Init(ULPI_DIR_GPIO_Port, &GPIO_InitStruct);

  /*Configure GPIO pin : CEC_CLK_Pin */
  GPIO_InitStruct.Pin = CEC_CLK_Pin;
  GPIO_InitStruct.Mode = GPIO_MODE_AF_PP;
  GPIO_InitStruct.Pull = GPIO_NOPULL;
  GPIO_InitStruct.Speed = GPIO_SPEED_FREQ_LOW;
  GPIO_InitStruct.Alternate = GPIO_AF0_MCO;
  HAL_GPIO_Init(CEC_CLK_GPIO_Port, &GPIO_InitStruct);

  /*Configure GPIO pin : LCD_INT_Pin */
  GPIO_InitStruct.Pin = LCD_INT_Pin;
  GPIO_InitStruct.Mode = GPIO_MODE_EVT_RISING;
  GPIO_InitStruct.Pull = GPIO_NOPULL;
  HAL_GPIO_Init(LCD_INT_GPIO_Port, &GPIO_InitStruct);

  /*Configure GPIO pin : ARD_D5_PWM_Pin */
  GPIO_InitStruct.Pin = ARD_D5_PWM_Pin;
  GPIO_InitStruct.Mode = GPIO_MODE_AF_PP;
  GPIO_InitStruct.Pull = GPIO_NOPULL;
  GPIO_InitStruct.Speed = GPIO_SPEED_FREQ_LOW;
  GPIO_InitStruct.Alternate = GPIO_AF2_TIM3;
  HAL_GPIO_Init(ARD_D5_PWM_GPIO_Port, &GPIO_InitStruct);

  /*Configure GPIO pins : ARD_D0_RX_Pin ARDUINO_TX_D1_Pin */
  GPIO_InitStruct.Pin = ARD_D0_RX_Pin|ARDUINO_TX_D1_Pin;
  GPIO_InitStruct.Mode = GPIO_MODE_AF_PP;
  GPIO_InitStruct.Pull = GPIO_NOPULL;
  GPIO_InitStruct.Speed = GPIO_SPEED_FREQ_VERY_HIGH;
  GPIO_InitStruct.Alternate = GPIO_AF8_USART6;
  HAL_GPIO_Init(GPIOC, &GPIO_InitStruct);

  /*Configure GPIO pin : ULPI_NXT_Pin */
  GPIO_InitStruct.Pin = ULPI_NXT_Pin;
  GPIO_InitStruct.Mode = GPIO_MODE_AF_PP;
  GPIO_InitStruct.Pull = GPIO_NOPULL;
  GPIO_InitStruct.Speed = GPIO_SPEED_FREQ_VERY_HIGH;
  GPIO_InitStruct.Alternate = GPIO_AF10_OTG_HS;
  HAL_GPIO_Init(ULPI_NXT_GPIO_Port, &GPIO_InitStruct);

  /*Configure GPIO pin : SAI1_MCLKA_Pin */
  GPIO_InitStruct.Pin = SAI1_MCLKA_Pin;
  GPIO_InitStruct.Mode = GPIO_MODE_AF_PP;
  GPIO_InitStruct.Pull = GPIO_NOPULL;
  GPIO_InitStruct.Speed = GPIO_SPEED_FREQ_LOW;
  GPIO_InitStruct.Alternate = GPIO_AF6_SAI1;
  HAL_GPIO_Init(SAI1_MCLKA_GPIO_Port, &GPIO_InitStruct);

  /*Configure GPIO pins : EXT_SDA_Pin EXT_SCL_Pin */
  GPIO_InitStruct.Pin = EXT_SDA_Pin|EXT_SCL_Pin;
  GPIO_InitStruct.Mode = GPIO_MODE_INPUT;
  GPIO_InitStruct.Pull = GPIO_NOPULL;
  HAL_GPIO_Init(GPIOG, &GPIO_InitStruct);

  /*Configure GPIO pin : ARD_D6_PWM_Pin */
  GPIO_InitStruct.Pin = ARD_D6_PWM_Pin;
  GPIO_InitStruct.Mode = GPIO_MODE_AF_PP;
  GPIO_InitStruct.Pull = GPIO_NOPULL;
  GPIO_InitStruct.Speed = GPIO_SPEED_FREQ_LOW;
  GPIO_InitStruct.Alternate = GPIO_AF3_TIM11;
  HAL_GPIO_Init(ARD_D6_PWM_GPIO_Port, &GPIO_InitStruct);

  /*Configure GPIO pin : ARD_D3_PWM_Pin */
  GPIO_InitStruct.Pin = ARD_D3_PWM_Pin;
  GPIO_InitStruct.Mode = GPIO_MODE_AF_PP;
  GPIO_InitStruct.Pull = GPIO_NOPULL;
  GPIO_InitStruct.Speed = GPIO_SPEED_FREQ_LOW;
  GPIO_InitStruct.Alternate = GPIO_AF3_TIM10;
  HAL_GPIO_Init(ARD_D3_PWM_GPIO_Port, &GPIO_InitStruct);

  /*Configure GPIO pins : ARDUINO_A1_Pin ARDUINO_A2_Pin ARDUINO_A3_Pin */
  GPIO_InitStruct.Pin = ARDUINO_A1_Pin|ARDUINO_A2_Pin|ARDUINO_A3_Pin;
  GPIO_InitStruct.Mode = GPIO_MODE_ANALOG;
  GPIO_InitStruct.Pull = GPIO_NOPULL;
  HAL_GPIO_Init(GPIOF, &GPIO_InitStruct);

  /*Configure GPIO pin : ULPI_STP_Pin */
  GPIO_InitStruct.Pin = ULPI_STP_Pin;
  GPIO_InitStruct.Mode = GPIO_MODE_AF_PP;
  GPIO_InitStruct.Pull = GPIO_NOPULL;
  GPIO_InitStruct.Speed = GPIO_SPEED_FREQ_VERY_HIGH;
  GPIO_InitStruct.Alternate = GPIO_AF10_OTG_HS;
  HAL_GPIO_Init(ULPI_STP_GPIO_Port, &GPIO_InitStruct);

  /*Configure GPIO pins : RMII_MDC_Pin RMII_RXD0_Pin RMII_RXD1_Pin */
  GPIO_InitStruct.Pin = RMII_MDC_Pin|RMII_RXD0_Pin|RMII_RXD1_Pin;
  GPIO_InitStruct.Mode = GPIO_MODE_AF_PP;
  GPIO_InitStruct.Pull = GPIO_NOPULL;
  GPIO_InitStruct.Speed = GPIO_SPEED_FREQ_VERY_HIGH;
  GPIO_InitStruct.Alternate = GPIO_AF11_ETH;
  HAL_GPIO_Init(GPIOC, &GPIO_InitStruct);

  /*Configure GPIO pin : ARD_A2_Pin */
  GPIO_InitStruct.Pin = ARD_A2_Pin;
  GPIO_InitStruct.Mode = GPIO_MODE_ANALOG;
  GPIO_InitStruct.Pull = GPIO_NOPULL;
  HAL_GPIO_Init(ARD_A2_GPIO_Port, &GPIO_InitStruct);

  /*Configure GPIO pin : PB2 */
  GPIO_InitStruct.Pin = GPIO_PIN_2;
  GPIO_InitStruct.Mode = GPIO_MODE_AF_PP;
  GPIO_InitStruct.Pull = GPIO_NOPULL;
  GPIO_InitStruct.Speed = GPIO_SPEED_FREQ_VERY_HIGH;
  GPIO_InitStruct.Alternate = GPIO_AF9_QUADSPI;
  HAL_GPIO_Init(GPIOB, &GPIO_InitStruct);

  /*Configure GPIO pin : AUDIO_SCL_Pin */
  GPIO_InitStruct.Pin = AUDIO_SCL_Pin;
  GPIO_InitStruct.Mode = GPIO_MODE_AF_OD;
  GPIO_InitStruct.Pull = GPIO_NOPULL;
  GPIO_InitStruct.Speed = GPIO_SPEED_FREQ_VERY_HIGH;
  GPIO_InitStruct.Alternate = GPIO_AF4_I2C4;
  HAL_GPIO_Init(AUDIO_SCL_GPIO_Port, &GPIO_InitStruct);

  /*Configure GPIO pin : QSPI_D3_Pin */
  GPIO_InitStruct.Pin = QSPI_D3_Pin;
  GPIO_InitStruct.Mode = GPIO_MODE_AF_PP;
  GPIO_InitStruct.Pull = GPIO_NOPULL;
  GPIO_InitStruct.Speed = GPIO_SPEED_FREQ_VERY_HIGH;
  GPIO_InitStruct.Alternate = GPIO_AF9_QUADSPI;
  HAL_GPIO_Init(QSPI_D3_GPIO_Port, &GPIO_InitStruct);

  /*Configure GPIO pins : RMII_REF_CLK_Pin RMII_MDIO_Pin RMII_CRS_DV_Pin */
  GPIO_InitStruct.Pin = RMII_REF_CLK_Pin|RMII_MDIO_Pin|RMII_CRS_DV_Pin;
  GPIO_InitStruct.Mode = GPIO_MODE_AF_PP;
  GPIO_InitStruct.Pull = GPIO_NOPULL;
  GPIO_InitStruct.Speed = GPIO_SPEED_FREQ_VERY_HIGH;
  GPIO_InitStruct.Alternate = GPIO_AF11_ETH;
  HAL_GPIO_Init(GPIOA, &GPIO_InitStruct);

  /*Configure GPIO pin : B_USER_Pin */
  GPIO_InitStruct.Pin = B_USER_Pin;
  GPIO_InitStruct.Mode = GPIO_MODE_IT_RISING;
  GPIO_InitStruct.Pull = GPIO_NOPULL;
  HAL_GPIO_Init(B_USER_GPIO_Port, &GPIO_InitStruct);

  /*Configure GPIO pins : ARD_A1_Pin ARD_A0_Pin */
  GPIO_InitStruct.Pin = ARD_A1_Pin|ARD_A0_Pin;
  GPIO_InitStruct.Mode = GPIO_MODE_ANALOG;
  GPIO_InitStruct.Pull = GPIO_NOPULL;
  HAL_GPIO_Init(GPIOA, &GPIO_InitStruct);

  /*Configure GPIO pin : SPDIF_TX_Pin */
  GPIO_InitStruct.Pin = SPDIF_TX_Pin;
  GPIO_InitStruct.Mode = GPIO_MODE_AF_PP;
  GPIO_InitStruct.Pull = GPIO_NOPULL;
  GPIO_InitStruct.Speed = GPIO_SPEED_FREQ_LOW;
  GPIO_InitStruct.Alternate = GPIO_AF10_SAI2;
  HAL_GPIO_Init(SPDIF_TX_GPIO_Port, &GPIO_InitStruct);

  /*Configure GPIO pin : EXT_RST_Pin */
  GPIO_InitStruct.Pin = EXT_RST_Pin;
  GPIO_InitStruct.Mode = GPIO_MODE_INPUT;
  GPIO_InitStruct.Pull = GPIO_NOPULL;
  HAL_GPIO_Init(EXT_RST_GPIO_Port, &GPIO_InitStruct);

  /*Configure GPIO pins : ULPI_CLK_Pin ULPI_D0_Pin */
  GPIO_InitStruct.Pin = ULPI_CLK_Pin|ULPI_D0_Pin;
  GPIO_InitStruct.Mode = GPIO_MODE_AF_PP;
  GPIO_InitStruct.Pull = GPIO_NOPULL;
  GPIO_InitStruct.Speed = GPIO_SPEED_FREQ_VERY_HIGH;
  GPIO_InitStruct.Alternate = GPIO_AF10_OTG_HS;
  HAL_GPIO_Init(GPIOA, &GPIO_InitStruct);

  /*Configure GPIO pin : DSIHOST_TE_Pin */
  GPIO_InitStruct.Pin = DSIHOST_TE_Pin;
  GPIO_InitStruct.Mode = GPIO_MODE_AF_PP;
  GPIO_InitStruct.Pull = GPIO_NOPULL;
  GPIO_InitStruct.Speed = GPIO_SPEED_FREQ_LOW;
  GPIO_InitStruct.Alternate = GPIO_AF13_DSI;
  HAL_GPIO_Init(DSIHOST_TE_GPIO_Port, &GPIO_InitStruct);

  /*Configure GPIO pin : ARDUINO_PWM_D6_Pin */
  GPIO_InitStruct.Pin = ARDUINO_PWM_D6_Pin;
  GPIO_InitStruct.Mode = GPIO_MODE_AF_PP;
  GPIO_InitStruct.Pull = GPIO_NOPULL;
  GPIO_InitStruct.Speed = GPIO_SPEED_FREQ_LOW;
  GPIO_InitStruct.Alternate = GPIO_AF9_TIM12;
  HAL_GPIO_Init(ARDUINO_PWM_D6_GPIO_Port, &GPIO_InitStruct);

  /*Configure GPIO pins : ARDUINO_MISO_D12_Pin ARDUINO_MOSI_PWM_D11_Pin */
  GPIO_InitStruct.Pin = ARDUINO_MISO_D12_Pin|ARDUINO_MOSI_PWM_D11_Pin;
  GPIO_InitStruct.Mode = GPIO_MODE_AF_PP;
  GPIO_InitStruct.Pull = GPIO_NOPULL;
  GPIO_InitStruct.Speed = GPIO_SPEED_FREQ_LOW;
  GPIO_InitStruct.Alternate = GPIO_AF5_SPI2;
  HAL_GPIO_Init(GPIOB, &GPIO_InitStruct);

}

/* USER CODE BEGIN 4 */
static void task1_handler(void* parameters) {
	while(1) {
		printf("%s\n", (char*)parameters);
	}
}
static void task2_handler(void* parameters) {
	while(1) {
		printf("%s\n", (char*)parameters);
	}
}
/* USER CODE END 4 */

void HAL_TIM_PeriodElapsedCallback(TIM_HandleTypeDef *htim)
{
  if (htim->Instance == TIM6) {
    HAL_IncTick();
  }
}

void Error_Handler(void)
{
  __disable_irq();
  while (1)
  {
  }
}
